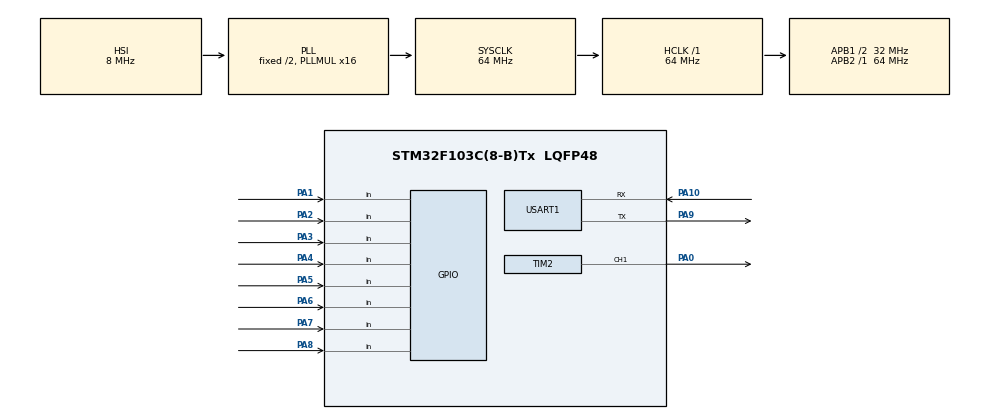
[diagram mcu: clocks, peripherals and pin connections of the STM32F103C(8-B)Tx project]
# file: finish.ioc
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Mcu.Family=STM32F1
Mcu.Name=STM32F103C(8-B)Tx
Mcu.Package=LQFP48
NVIC.PriorityGroup=NVIC_PRIORITYGROUP_4
NVIC.USART1_IRQn=true\:0\:0\:false\:false\:true\:true\:true\:true
PA0-WKUP.Signal=S_TIM2_CH1_ETR
PA1.GPIO_PuPd=GPIO_PULLUP
PA1.Signal=GPIO_Input
PA10.Mode=Asynchronous
PA10.Signal=USART1_RX
PA2.GPIO_PuPd=GPIO_PULLUP
PA2.Signal=GPIO_Input
PA3.GPIO_PuPd=GPIO_PULLUP
PA3.Signal=GPIO_Input
PA4.GPIO_PuPd=GPIO_PULLUP
PA4.Signal=GPIO_Input
PA5.GPIO_PuPd=GPIO_PULLUP
PA5.Signal=GPIO_Input
PA6.GPIO_PuPd=GPIO_PULLUP
PA6.Signal=GPIO_Input
PA7.GPIO_PuPd=GPIO_PULLUP
PA7.Signal=GPIO_Input
PA8.GPIO_PuPd=GPIO_PULLUP
PA8.Signal=GPIO_Input
PA9.Mode=Asynchronous
PA9.Signal=USART1_TX
ProjectManager.HeapSize=0x200
ProjectManager.StackSize=0x400
ProjectManager.TargetToolchain=MDK-ARM V5.32
RCC.AHBFreq_Value=64000000
RCC.APB1CLKDivider=RCC_HCLK_DIV2
RCC.APB1Freq_Value=32000000
RCC.APB1TimFreq_Value=64000000
RCC.APB2Freq_Value=64000000
RCC.APB2TimFreq_Value=64000000
RCC.HCLKFreq_Value=64000000
RCC.PLLMUL=RCC_PLL_MUL16
RCC.SYSCLKFreq_VALUE=64000000
RCC.SYSCLKSource=RCC_SYSCLKSOURCE_PLLCLK
RCC.USBFreq_Value=64000000
SH.S_TIM2_CH1_ETR.0=TIM2_CH1,PWM Generation1 CH1
TIM2.Channel-PWM\ Generation1\ CH1=TIM_CHANNEL_1
TIM2.Period=1000
TIM2.Prescaler=63
TIM2.Pulse-PWM\ Generation1\ CH1=500
USART1.VirtualMode=VM_ASYNC
VP_SYS_VS_ND.Mode=No_Debug
VP_TIM2_VS_ClockSourceINT.Mode=Internal
board=custom

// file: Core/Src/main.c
/* USER CODE BEGIN Header */
/**
  ******************************************************************************
  * @file           : main.c
  * @brief          : Main program body
  ******************************************************************************
  * @attention
  *
  * Copyright (c) 2026 STMicroelectronics.
  * All rights reserved.
  *
  * This software is licensed under terms that can be found in the LICENSE file
  * in the root directory of this software component.
  * If no LICENSE file comes with this software, it is provided AS-IS.
  *
  ******************************************************************************
  */
/* USER CODE END Header */
#include "main.h"
#include "tim.h"
#include "usart.h"
#include "gpio.h"

/* USER CODE BEGIN Includes */
#include "oled.h"
#include <stdio.h>
/* USER CODE END Includes */

/* USER CODE BEGIN PD */
#define NOTE_COUNT      8
#define KEY_DEBOUNCE_MS 10
#define KEY_PORT        GPIOA
/* USER CODE END PD */

/* USER CODE BEGIN PV */
/* 音符频率对应的 ARR 值 (PSC=71, 72MHz/(72*freq)-1) */
uint16_t Note_ARR[NOTE_COUNT] = {3821, 3404, 3033, 2863, 2550, 2272, 2024, 1910};

/* 音符名称 */
const char *Note_Names[NOTE_COUNT] = {"Do  ", "Re  ", "Mi  ", "Fa  ", "Sol ", "La  ", "Si  ", "Do' "};

/* 《小星星》音符序列 */
uint8_t Star_Notes[] = {0, 0, 4, 4, 5, 5, 4, 3, 3, 2, 2, 1, 1, 0,
                        4, 4, 3, 3, 2, 2, 1, 4, 4, 3, 3, 2, 2, 1,
                        0, 0, 4, 4, 5, 5, 4, 3, 3, 2, 2, 1, 1, 0};
uint16_t Star_Times[] = {500, 500, 500, 500, 500, 500, 1000, 500, 500, 500, 500, 500, 500, 1000,
                         500, 500, 500, 500, 500, 500, 1000, 500, 500, 500, 500, 500, 500, 1000,
                         500, 500, 500, 500, 500, 500, 1000, 500, 500, 500, 500, 500, 500, 1000};
#define STAR_NOTE_COUNT (sizeof(Star_Notes)/sizeof(Star_Notes[0]))

/* 《生日快乐》音符序列 */
uint8_t Bday_Notes[] = {4, 4, 5, 4, 7, 6, 4, 4, 5, 4, 7, 6,
                        4, 4, 0, 2, 1, 6, 5, 3, 3, 2, 1, 6, 5};
uint16_t Bday_Times[] = {500, 500, 1000, 500, 500, 1000, 500, 500, 1000, 500, 500, 1000,
                         500, 500, 1000, 500, 500, 500, 1000, 500, 500, 1000, 500, 500, 1000};
#define BDAY_NOTE_COUNT (sizeof(Bday_Notes)/sizeof(Bday_Notes[0]))

uint8_t rx_data = 0;
uint8_t last_key = 0xFF;
/* USER CODE END PV */

void SystemClock_Config(void);
/* USER CODE BEGIN PFP */
void Play_Note(uint8_t note_index, uint16_t duration);
void Play_Twinkle_Star(void);
void Play_Birthday(void);
void Auto_Play_Songs(void);
uint8_t Read_Key(void);
void OLED_ShowStatusLine(const char *status);
/* USER CODE END PFP */

int main(void)
{

  /* MCU Configuration--------------------------------------------------------*/

  /* Reset of all peripherals, Initializes the Flash interface and the Systick. */
  HAL_Init();

  /* Configure the system clock */
  SystemClock_Config();

  /* Initialize all configured peripherals */
  MX_GPIO_Init();
  MX_TIM2_Init();
  MX_USART1_UART_Init();
  /* USER CODE BEGIN 2 */

  OLED_Init();
  OLED_Clear();

  OLED_ShowString(28, 0, (uint8_t*)"SWUST Design");
  OLED_ShowString(32, 2, (uint8_t*)"Smart Organ");
  OLED_ShowString(20, 4, (uint8_t*)"By: Jin ChaoXiang");
  HAL_Delay(2000);

  OLED_Clear();
  OLED_ShowString(32, 6, (uint8_t*)"Status: Idle    ");

  HAL_TIM_PWM_Start(&htim2, TIM_CHANNEL_1);
  __HAL_TIM_SET_COMPARE(&htim2, TIM_CHANNEL_1, 0);

  HAL_UART_Receive_IT(&huart1, &rx_data, 1);
  /* USER CODE END 2 */

  /* Infinite loop */
  /* USER CODE BEGIN WHILE */
  while (1)
  {
    if (HAL_GPIO_ReadPin(KEY_PORT, GPIO_PIN_1) == GPIO_PIN_RESET &&
        HAL_GPIO_ReadPin(KEY_PORT, GPIO_PIN_7) == GPIO_PIN_RESET)
    {
      HAL_Delay(KEY_DEBOUNCE_MS);
      if (HAL_GPIO_ReadPin(KEY_PORT, GPIO_PIN_1) == GPIO_PIN_RESET &&
          HAL_GPIO_ReadPin(KEY_PORT, GPIO_PIN_7) == GPIO_PIN_RESET)
      {
        Auto_Play_Songs();
        while (HAL_GPIO_ReadPin(KEY_PORT, GPIO_PIN_1) == GPIO_PIN_RESET ||
               HAL_GPIO_ReadPin(KEY_PORT, GPIO_PIN_7) == GPIO_PIN_RESET);
        OLED_ShowStatusLine("Status: Idle    ");
        __HAL_TIM_SET_COMPARE(&htim2, TIM_CHANNEL_1, 0);
        last_key = 0xFF;
        continue;
      }
    }

    uint8_t key = Read_Key();

    if (key != 0xFF)
    {
      uint16_t arr_val = Note_ARR[key];
      __HAL_TIM_SET_AUTORELOAD(&htim2, arr_val);
      __HAL_TIM_SET_COMPARE(&htim2, TIM_CHANNEL_1, arr_val / 10);

      char buf[32];
      sprintf(buf, "Playing: %d %s", key + 1, Note_Names[key]);
      OLED_ShowStatusLine(buf);

      last_key = key;
      while (Read_Key() == key);
    }
    else if (last_key != 0xFF)
    {
      __HAL_TIM_SET_COMPARE(&htim2, TIM_CHANNEL_1, 0);
      OLED_ShowStatusLine("Status: Idle    ");
      last_key = 0xFF;
    }

    HAL_Delay(5);
  }
  /* USER CODE END WHILE */
}

void SystemClock_Config(void)
{
  RCC_OscInitTypeDef RCC_OscInitStruct = {0};
  RCC_ClkInitTypeDef RCC_ClkInitStruct = {0};

  /** Initializes the RCC Oscillators according to the specified parameters
  * in the RCC_OscInitTypeDef structure.
  */
  RCC_OscInitStruct.OscillatorType = RCC_OSCILLATORTYPE_HSI;
  RCC_OscInitStruct.HSIState = RCC_HSI_ON;
  RCC_OscInitStruct.HSICalibrationValue = RCC_HSICALIBRATION_DEFAULT;
  RCC_OscInitStruct.PLL.PLLState = RCC_PLL_ON;
  RCC_OscInitStruct.PLL.PLLSource = RCC_PLLSOURCE_HSI_DIV2;
  RCC_OscInitStruct.PLL.PLLMUL = RCC_PLL_MUL16;
  if (HAL_RCC_OscConfig(&RCC_OscInitStruct) != HAL_OK)
  {
    Error_Handler();
  }

  /** Initializes the CPU, AHB and APB buses clocks
  */
  RCC_ClkInitStruct.ClockType = RCC_CLOCKTYPE_HCLK|RCC_CLOCKTYPE_SYSCLK
                              |RCC_CLOCKTYPE_PCLK1|RCC_CLOCKTYPE_PCLK2;
  RCC_ClkInitStruct.SYSCLKSource = RCC_SYSCLKSOURCE_PLLCLK;
  RCC_ClkInitStruct.AHBCLKDivider = RCC_SYSCLK_DIV1;
  RCC_ClkInitStruct.APB1CLKDivider = RCC_HCLK_DIV2;
  RCC_ClkInitStruct.APB2CLKDivider = RCC_HCLK_DIV1;

  if (HAL_RCC_ClockConfig(&RCC_ClkInitStruct, FLASH_LATENCY_2) != HAL_OK)
  {
    Error_Handler();
  }
}

/* USER CODE BEGIN 4 */

uint8_t Read_Key(void)
{
  uint8_t i;
  for (i = 0; i < NOTE_COUNT; i++)
  {
    if (HAL_GPIO_ReadPin(KEY_PORT, GPIO_PIN_1 << i) == GPIO_PIN_RESET)
    {
      HAL_Delay(KEY_DEBOUNCE_MS);
      if (HAL_GPIO_ReadPin(KEY_PORT, GPIO_PIN_1 << i) == GPIO_PIN_RESET)
      {
        return i;
      }
    }
  }
  return 0xFF;
}

void Play_Note(uint8_t note_index, uint16_t duration)
{
  if (note_index >= NOTE_COUNT) return;

  uint16_t arr_val = Note_ARR[note_index];
  __HAL_TIM_SET_AUTORELOAD(&htim2, arr_val);
  __HAL_TIM_SET_COMPARE(&htim2, TIM_CHANNEL_1, arr_val / 10);
  HAL_Delay(duration);
  __HAL_TIM_SET_COMPARE(&htim2, TIM_CHANNEL_1, 0);
  HAL_Delay(30);
}

void OLED_ShowStatusLine(const char *status)
{
  OLED_SetPos(0, 6);
  for (uint8_t i = 0; i < 128; i++)
  {
    OLED_WriteData(0x00);
  }
  OLED_SetPos(0, 7);
  for (uint8_t i = 0; i < 128; i++)
  {
    OLED_WriteData(0x00);
  }
  OLED_ShowString(0, 6, (uint8_t*)status);
}

void Play_Twinkle_Star(void)
{
  uint8_t i;
  for (i = 0; i < STAR_NOTE_COUNT; i++)
  {
    Play_Note(Star_Notes[i], Star_Times[i]);
  }
}

void Play_Birthday(void)
{
  uint8_t i;
  for (i = 0; i < BDAY_NOTE_COUNT; i++)
  {
    Play_Note(Bday_Notes[i], Bday_Times[i]);
  }
}

void Auto_Play_Songs(void)
{
  OLED_Clear();

  OLED_ShowStatusLine("Music: Twinkle* ");
  Play_Twinkle_Star();

  HAL_Delay(500);

  OLED_ShowStatusLine("Music: HappyBDay");
  Play_Birthday();
}

void HAL_UART_RxCpltCallback(UART_HandleTypeDef *huart)
{
  if (huart->Instance == USART1)
  {
    if (rx_data >= '0' && rx_data <= '7')
    {
      uint8_t note_idx = rx_data - '0';
      Play_Note(note_idx, 300);
    }
    HAL_UART_Receive_IT(&huart1, &rx_data, 1);
  }
}

/* USER CODE END 4 */

void Error_Handler(void)
{
  __disable_irq();
  while (1)
  {
  }
}
